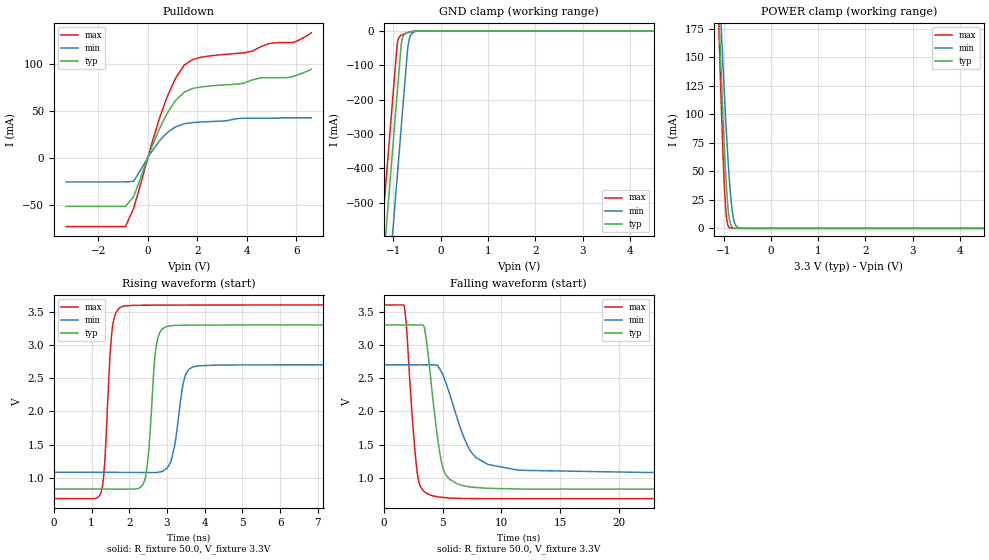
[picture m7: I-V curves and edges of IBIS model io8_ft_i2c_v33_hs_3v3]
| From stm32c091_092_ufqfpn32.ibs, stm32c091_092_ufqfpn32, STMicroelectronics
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[Model]   io8_ft_i2c_v33_hs_3v3
Model_type I/O_open_drain
Polarity   Non-Inverting
Enable   Active-Low
| CAP_THRESHOLD on pad IOFT is "UDTCAPC" :
| Rising=30.0% of vddiom   Falling=70.0% of vddiom
| C_comp min and max val. don't necessarily correlate with the min and max pvt
| but are the smallest and greatest pad capacitance found.
| var   typ   min   max
C_comp   2.42806pF  2.37063pF  2.44147pF
|C_comp_pulldown   2.42806pF  2.37063pF  2.44147pF
Vinl = 1.35V
Vinh = 1.8V
Vmeas = 1.65V   | Reference voltage for timing measurements
Cref  = 50.0pF   | Timing specification test load capacitance value
Rref  = 1.0MOhm   | Timing specification test load resistance value
Vref  = 1.815V   | Timing specification test load voltage
[Model Spec]
| TIME_THRESHOLD on pin ZII2CV12 is "CMOS" :
| Rising=50.0% of vdd   Falling=50.0% of vdd
Vinl 1.34770V 1.11370V 1.44970V
Vinh 1.77530V 1.49530V 1.90330V
| variable   typ   min   max
[Temperature Range] 25.0 125.0 -40.0
| variable   typ   min   max
[Voltage Range] 3.3V 2.7V 3.6V
| variable   typ   min   max
[POWER Clamp Reference] 3.3V 2.7V 3.6V
| variable   typ   min   max
[GND Clamp Reference] 0V 0V 0V
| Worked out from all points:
|   slope of the pulldown table from 0 to 0.495 V, typ, clamps not added: 15.4 ohm
|   GND clamp passes 1 mA (typ) near -0.58 V on its own axis
|   POWER clamp passes 1 mA (typ) near -0.81 V on its own axis
|   rising waveform, R_fixture 50.0, V_fixture 3.3V: 20-80 % time 175ps typ, 246ps min, 158ps max; typ from 0.831 V to 3.3 V
|   falling waveform, R_fixture 50.0, V_fixture 3.3V: 20-80 % time 1.01ns typ, 1.99ns min, 701ps max; typ from 3.3 V to 0.831 V
[POWER Clamp]
-3.3V     2.991A     2.543A     3.694A
-1.1V     191.1mA    222.7mA    177.1mA
-1.08V    169mA      204.2mA    149.9mA
-1.05V    136.9mA    176.9mA    110.9mA
-1.01V    96.55mA    141.6mA    64.02mA
-970mV    60.39mA    108.2mA    27.41mA
-930mV    31.08mA    77.43mA    7.282mA
-900mV    15.67mA    56.69mA    2.025mA
-860mV    4.779mA    33.42mA    315.2uA
-780mV    272.1uA    6.953mA    6.98uA
-670mV    4.467uA    374.2uA    36.58nA
6.6V      0A         0A         0A
[GND Clamp]
-3.3V     -4.227A    -4.472A    -4.082A
-1.25V    -742.2mA   -986.7mA   -597.4mA
-930mV    -198.2mA   -442.7mA   -53.39mA
-920mV    -181.2mA   -425.7mA   -39.67mA
-890mV    -130.2mA   -374.7mA   -20.93mA
-830mV    -35.33mA   -272.7mA   -12.06mA
-790mV    -14.13mA   -204.7mA   -9.442mA
-720mV    -5.312mA   -85.66mA   -5.702mA
-690mV    -3.888mA   -42.66mA   -4.338mA
-650mV    -2.529mA   -17.47mA   -2.784mA
-480mV    -113.2uA   -479.8uA   -69.15uA
6.6V      942.9pA    93.37nA    678.9pA
| variable   typ   min   max
[Pullup Reference] 3.3V 2.7V 3.6V
| variable   typ   min   max
[Pulldown Reference] 0V 0V 0V
[Pulldown]
-3.3V     -51.88mA   -25.81mA   -73.46mA
-900mV    -51.88mA   -25.81mA   -73.32mA
-570mV    -41.39mA   -25.18mA   -53.99mA
120mV     8.622mA    5.148mA    11.58mA
690mV     42.7mA     24.28mA    58.45mA
1.08V     59.39mA    32.34mA    82.54mA
1.48V     70.24mA    36.36mA    99.08mA
2.17V     75.62mA    38.17mA    107.3mA
3.88V     79.57mA    42.16mA    111.9mA
4.9V      85.45mA    42.16mA    121.9mA
5.88V     86.9mA     42.6mA     122.9mA
6.6V      94.4mA     42.6mA     133.3mA
[Ramp]
dV/dt_r 1.48132V/173.6212ps 971.07476mV/244.45128ps 1.74772V/155.07608ps
dV/dt_f 1.48135V/1.01417ns 971.1208mV/1.98846ns 1.74775V/701.00154ps
R_load = 50.0
| Removed startup time: 0s 0s 0s  .
| Removed end time: 19.875ns.
[Rising Waveform]
R_fixture   = 50.0
V_fixture   = 3.3V
V_fixture_min = 2.7V
V_fixture_max = 3.6V
0s        831.1mV    1.081V     687.1mV
1.25ns    831.1mV    1.081V     771.7mV
1.55ns    830.8mV    1.081V     3.244V
1.85ns    830.3mV    1.081V     3.581V
2.425ns   989.4mV    1.079V     3.596V
2.7ns     2.923V     1.078V     3.597V
3.025ns   3.279V     1.166V     3.597V
3.475ns   3.295V     2.517V     3.598V
3.85ns    3.297V     2.685V     3.599V
19.88ns   3.3V       2.7V       3.6V
| Removed startup time: 0s 0s 0s  .
| Removed end time: 199.875ns.
[Falling Waveform]
R_fixture   = 50.0
V_fixture   = 3.3V
V_fixture_min = 2.7V
V_fixture_max = 3.6V
0s        3.3V       2.7V       3.6V
1.725ns   3.3V       2.7V       3.594V
1.9ns     3.3V       2.7V       3.328V
2.75ns    3.3V       2.7V       1.202V
3.425ns   3.271V     2.7V       795.7mV
4.75ns    1.378V     2.638V     710mV
5.6ns     977.5mV    2.258V     696.6mV
7.475ns   861.9mV    1.375V     689mV
11.48ns   832.8mV    1.114V     687mV
199.9ns   831.1mV    1.081V     687.1mV
